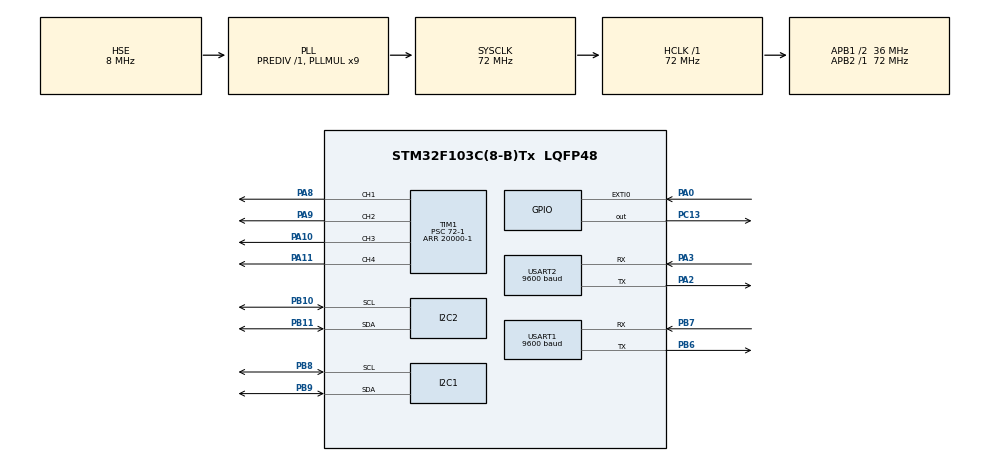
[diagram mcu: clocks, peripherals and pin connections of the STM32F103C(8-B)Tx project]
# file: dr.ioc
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Dma.Request0=USART1_RX
Dma.Request1=USART1_TX
Dma.Request2=USART2_RX
Dma.Request3=USART2_TX
Dma.USART1_RX.0.Direction=DMA_PERIPH_TO_MEMORY
Dma.USART1_RX.0.Instance=DMA1_Channel5
Dma.USART1_RX.0.MemDataAlignment=DMA_MDATAALIGN_BYTE
Dma.USART1_RX.0.MemInc=DMA_MINC_ENABLE
Dma.USART1_RX.0.Mode=DMA_NORMAL
Dma.USART1_RX.0.PeriphDataAlignment=DMA_PDATAALIGN_BYTE
Dma.USART1_RX.0.PeriphInc=DMA_PINC_DISABLE
Dma.USART1_RX.0.Priority=DMA_PRIORITY_LOW
Dma.USART1_TX.1.Direction=DMA_MEMORY_TO_PERIPH
Dma.USART1_TX.1.Instance=DMA1_Channel4
Dma.USART1_TX.1.MemDataAlignment=DMA_MDATAALIGN_BYTE
Dma.USART1_TX.1.MemInc=DMA_MINC_ENABLE
Dma.USART1_TX.1.Mode=DMA_NORMAL
Dma.USART1_TX.1.PeriphDataAlignment=DMA_PDATAALIGN_BYTE
Dma.USART1_TX.1.PeriphInc=DMA_PINC_DISABLE
Dma.USART1_TX.1.Priority=DMA_PRIORITY_LOW
Dma.USART2_RX.2.Direction=DMA_PERIPH_TO_MEMORY
Dma.USART2_RX.2.Instance=DMA1_Channel6
Dma.USART2_RX.2.MemDataAlignment=DMA_MDATAALIGN_BYTE
Dma.USART2_RX.2.MemInc=DMA_MINC_ENABLE
Dma.USART2_RX.2.Mode=DMA_NORMAL
Dma.USART2_RX.2.PeriphDataAlignment=DMA_PDATAALIGN_BYTE
Dma.USART2_RX.2.PeriphInc=DMA_PINC_DISABLE
Dma.USART2_RX.2.Priority=DMA_PRIORITY_LOW
Dma.USART2_TX.3.Direction=DMA_MEMORY_TO_PERIPH
Dma.USART2_TX.3.Instance=DMA1_Channel7
Dma.USART2_TX.3.MemDataAlignment=DMA_MDATAALIGN_BYTE
Dma.USART2_TX.3.MemInc=DMA_MINC_ENABLE
Dma.USART2_TX.3.Mode=DMA_NORMAL
Dma.USART2_TX.3.PeriphDataAlignment=DMA_PDATAALIGN_BYTE
Dma.USART2_TX.3.PeriphInc=DMA_PINC_DISABLE
Dma.USART2_TX.3.Priority=DMA_PRIORITY_LOW
I2C1.I2C_Mode=I2C_Standard
I2C2.I2C_Mode=I2C_Fast
Mcu.Family=STM32F1
Mcu.Name=STM32F103C(8-B)Tx
Mcu.Package=LQFP48
NVIC.DMA1_Channel4_IRQn=true\:0\:0\:false\:false\:true\:false\:true\:true
NVIC.DMA1_Channel5_IRQn=true\:0\:0\:false\:false\:true\:false\:true\:true
NVIC.DMA1_Channel6_IRQn=true\:0\:0\:false\:false\:true\:false\:true\:true
NVIC.DMA1_Channel7_IRQn=true\:0\:0\:false\:false\:true\:false\:true\:true
NVIC.EXTI0_IRQn=true\:0\:0\:true\:false\:true\:true\:true\:true
NVIC.PriorityGroup=NVIC_PRIORITYGROUP_4
NVIC.USART1_IRQn=true\:0\:0\:false\:false\:true\:true\:true\:true
NVIC.USART2_IRQn=true\:0\:0\:false\:false\:true\:true\:true\:true
PA0-WKUP.GPIO_ModeDefaultEXTI=GPIO_MODE_IT_FALLING
PA0-WKUP.GPIO_PuPd=GPIO_NOPULL
PA0-WKUP.Signal=GPXTI0
PA10.Signal=S_TIM1_CH3
PA11.Signal=S_TIM1_CH4
PA13.Mode=Serial_Wire
PA13.Signal=SYS_JTMS-SWDIO
PA14.Mode=Serial_Wire
PA14.Signal=SYS_JTCK-SWCLK
PA2.Mode=Asynchronous
PA2.Signal=USART2_TX
PA3.Mode=Asynchronous
PA3.Signal=USART2_RX
PA8.Signal=S_TIM1_CH1
PA9.Signal=S_TIM1_CH2
PB10.Mode=I2C
PB10.Signal=I2C2_SCL
PB11.Mode=I2C
PB11.Signal=I2C2_SDA
PB6.Mode=Asynchronous
PB6.Signal=USART1_TX
PB7.Mode=Asynchronous
PB7.Signal=USART1_RX
PB8.Mode=I2C
PB8.Signal=I2C1_SCL
PB9.Mode=I2C
PB9.Signal=I2C1_SDA
PC13-TAMPER-RTC.PinState=GPIO_PIN_RESET
PC13-TAMPER-RTC.Signal=GPIO_Output
PD0-OSC_IN.Mode=HSE-External-Oscillator
PD0-OSC_IN.Signal=RCC_OSC_IN
PD1-OSC_OUT.Mode=HSE-External-Oscillator
PD1-OSC_OUT.Signal=RCC_OSC_OUT
ProjectManager.HeapSize=0x200
ProjectManager.StackSize=0x400
ProjectManager.TargetToolchain=STM32CubeIDE
RCC.AHBFreq_Value=72000000
RCC.APB1CLKDivider=RCC_HCLK_DIV2
RCC.APB1Freq_Value=36000000
RCC.APB1TimFreq_Value=72000000
RCC.APB2Freq_Value=72000000
RCC.APB2TimFreq_Value=72000000
RCC.HCLKFreq_Value=72000000
RCC.PLLMUL=RCC_PLL_MUL9
RCC.PLLSourceVirtual=RCC_PLLSOURCE_HSE
RCC.SYSCLKFreq_VALUE=72000000
RCC.SYSCLKSource=RCC_SYSCLKSOURCE_PLLCLK
RCC.USBFreq_Value=72000000
SH.S_TIM1_CH1.0=TIM1_CH1,PWM Generation1 CH1
SH.S_TIM1_CH2.0=TIM1_CH2,PWM Generation2 CH2
SH.S_TIM1_CH3.0=TIM1_CH3,PWM Generation3 CH3
SH.S_TIM1_CH4.0=TIM1_CH4,PWM Generation4 CH4
TIM1.Channel-PWM\ Generation1\ CH1=TIM_CHANNEL_1
TIM1.Channel-PWM\ Generation2\ CH2=TIM_CHANNEL_2
TIM1.Channel-PWM\ Generation3\ CH3=TIM_CHANNEL_3
TIM1.Channel-PWM\ Generation4\ CH4=TIM_CHANNEL_4
TIM1.Period=20000-1
TIM1.Prescaler=72-1
TIM1.Pulse-PWM\ Generation1\ CH1=0
TIM1.Pulse-PWM\ Generation2\ CH2=0
TIM1.Pulse-PWM\ Generation3\ CH3=0
TIM1.Pulse-PWM\ Generation4\ CH4=0
TIM2.Prescaler=72-1
USART1.BaudRate=9600
USART1.VirtualMode=VM_ASYNC
USART2.BaudRate=9600
USART2.VirtualMode=VM_ASYNC
VP_TIM1_VS_ClockSourceINT.Mode=Internal
VP_TIM2_VS_ClockSourceINT.Mode=Internal
board=custom

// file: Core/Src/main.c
/* USER CODE BEGIN Header */
/**
  ******************************************************************************
  * @file           : main.c
  * @brief          : Main program body
  ******************************************************************************
  * @attention
  *
  * Copyright (c) 2025 STMicroelectronics.
  * All rights reserved.
  *
  * This software is licensed under terms that can be found in the LICENSE file
  * in the root directory of this software component.
  * If no LICENSE file comes with this software, it is provided AS-IS.
  *
  ******************************************************************************
  */
/* USER CODE END Header */
#include "main.h"
#include "dma.h"
#include "i2c.h"
#include "tim.h"
#include "usart.h"
#include "gpio.h"

/* USER CODE BEGIN Includes */
#include "ppm.h"
#include "oled.h"
#include "gy86.h"
#include "MS5611.h"
/* USER CODE END Includes */

/* USER CODE BEGIN PD */
#define PPM_Chn_Max 8                 // 假设8个PPM通道
#define BLUE_BUF_SIZE 64              // 蓝牙发送缓冲区大小
/* USER CODE END PD */

/* USER CODE BEGIN PV */
uint8_t blueData[50];
uint16_t PPM_Databuf[8] = {0};
char tx_buffer[BLUE_BUF_SIZE];
volatile uint8_t ppm_data_ready = 0;  // PPM数据就绪标志
volatile uint8_t uart_tx_busy = 0;    // UART发送忙标志
int16_t mag_x, mag_y, mag_z;
int16_t acc_x, acc_y, acc_z, gyro_x, gyro_y, gyro_z;
uint8_t letsgo = 1;
/* USER CODE END PV */

void SystemClock_Config(void);

/* USER CODE BEGIN 0 */
//void HAL_UARTEx_RxEventCallback(UART_HandleTypeDef *huart, uint16_t Size)
//{
//  if (huart->Instance == USART2)
//  {
//    // 使用DMA将接收到的数据发送回去
//    HAL_UART_Transmit_DMA(&huart2, (uint8_t*)tx_buffer, len);
//    // 重新启动接收，使用Ex函数，接收不定长数据
//    HAL_UARTEx_ReceiveToIdle_DMA(&huart2, blueData, sizeof(blueData));
//    // 关闭DMA传输过半中断（HAL库默认开启，但我们只需要接收完成中断）
//    __HAL_DMA_DISABLE_IT(huart2.hdmarx, DMA_IT_HT);
//  }
//}

//void HAL_UARTEx_RxEventCallback(UART_HandleTypeDef *huart, uint16_t Size) {
//  if (huart->Instance == USART2) {
//    // 处理接收到的数据（如blueData[0...Size-1]）
//    // 重新启动接收前关闭DMA中断
//    __HAL_DMA_DISABLE_IT(huart2.hdmarx, DMA_IT_HT | DMA_IT_TC);
//    HAL_UARTEx_ReceiveToIdle_DMA(&huart2, blueData, sizeof(blueData));
//  }
//}
//void HAL_UART_TxCpltCallback(UART_HandleTypeDef *huart) {
//    if (huart->Instance == USART2) {
//        uart_tx_busy = 0;  // 标记发送完成
//    }
//}

void startMotor_only4(){
	// An highlighted block
		HAL_TIM_PWM_Start(&htim1,TIM_CHANNEL_4);
	__HAL_TIM_SET_COMPARE(&htim1, TIM_CHANNEL_4,2000);//BB
		HAL_Delay(4000);
	__HAL_TIM_SET_COMPARE(&htim1, TIM_CHANNEL_4,1000);//BBB
		HAL_Delay(4000);

	__HAL_TIM_SET_COMPARE(&htim1, TIM_CHANNEL_4,1049);//起飞
		HAL_Delay(2000);

}
/* USER CODE END 0 */

int main(void)
{

  /* MCU Configuration--------------------------------------------------------*/

  /* Reset of all peripherals, Initializes the Flash interface and the Systick. */
  HAL_Init();

  /* Configure the system clock */
  SystemClock_Config();

  /* Initialize all configured peripherals */
  MX_GPIO_Init();
  MX_DMA_Init();
  MX_I2C1_Init();
  MX_I2C2_Init();
  MX_TIM1_Init();
  MX_TIM2_Init();
  MX_USART1_UART_Init();
  MX_USART2_UART_Init();
  /* USER CODE BEGIN 2 */
  HAL_TIM_Base_Start(&htim2);

  HAL_Delay(20);
//  // 使用Ex函数，接收不定长数据
//  HAL_UARTEx_ReceiveToIdle_DMA(&huart2, blueData, sizeof(blueData));
//  // 关闭DMA传输过半中断（HAL库默认开启，但我们只需要接收完成中断）
//  __HAL_DMA_DISABLE_IT(huart2.hdmarx, DMA_IT_HT);
//  // 现在等待数据接收完成，接收完成后会自动进入 回调函数...

  HAL_Delay(20);
  OLED_Init();                           //OLED初始
  OLED_Clear();                         //清屏
  OLED_DrawBMP(42,1, 85, 5,BMP1,0);//正相显示图片BMP1
  OLED_ShowString(14,6,"Summer Pocket",16, 0);

  HAL_Delay(20);
  HMC5883L_Init();
  MPU6050_Init();

  char defaultData[] = "Bluetooth";
  uint16_t len_default = sizeof(defaultData) - 1;  // 去掉末尾的\0
  /* USER CODE END 2 */

  /* Infinite loop */
  /* USER CODE BEGIN WHILE */
  while (1)
  {
	  if(!uart_tx_busy){
		  HMC5883L_ReadData(&mag_x, &mag_y, &mag_z);
		  MPU6050_GetData(&acc_x, &acc_y, &acc_z, &gyro_x, &gyro_y, &gyro_z);
		  uart_tx_busy = 1;
		    int len = snprintf(tx_buffer, sizeof(tx_buffer),
		        "%d,%d,%d,%d,%d,%d,%d,%d,%d\r\n",
		        mag_x, mag_y, mag_z,
		        acc_x, acc_y, acc_z,
		        gyro_x, gyro_y, gyro_z);
		  HAL_UART_Transmit(&huart2, (uint8_t*)tx_buffer, len, 500);
		  uart_tx_busy = 0;
		  HAL_Delay(200);
	  }
	  if(!uart_tx_busy){
	          HAL_UART_Transmit(&huart2, (uint8_t*)defaultData, len_default, 500);
	          HAL_Delay(500); // 保持适当间隔
	      }
	  if (ppm_data_ready && !uart_tx_busy && 0) {
	       __disable_irq();
	        uint16_t temp_buf[8];
	        memcpy(temp_buf, (uint16_t*)PPM_Databuf, sizeof(PPM_Databuf));
	        ppm_data_ready = 0;
	        __enable_irq();

	        uart_tx_busy = 1;
	        int len = snprintf(tx_buffer, sizeof(tx_buffer),
	            "%hu,%hu,%hu,%hu,%hu,%hu,%hu,%hu\r\n",
	            temp_buf[0], temp_buf[1],
	            temp_buf[2], temp_buf[3],
	            temp_buf[4], temp_buf[5],
	            temp_buf[6], temp_buf[7]);

	        HAL_UART_Transmit(&huart2, (uint8_t*)tx_buffer, len, 500);
	        uart_tx_busy = 0;
	        letsgo = (letsgo+1)%2;
	      }
    /* USER CODE END WHILE */

  }
}

void SystemClock_Config(void)
{
  RCC_OscInitTypeDef RCC_OscInitStruct = {0};
  RCC_ClkInitTypeDef RCC_ClkInitStruct = {0};

  /** Initializes the RCC Oscillators according to the specified parameters
  * in the RCC_OscInitTypeDef structure.
  */
  RCC_OscInitStruct.OscillatorType = RCC_OSCILLATORTYPE_HSE;
  RCC_OscInitStruct.HSEState = RCC_HSE_ON;
  RCC_OscInitStruct.HSEPredivValue = RCC_HSE_PREDIV_DIV1;
  RCC_OscInitStruct.HSIState = RCC_HSI_ON;
  RCC_OscInitStruct.PLL.PLLState = RCC_PLL_ON;
  RCC_OscInitStruct.PLL.PLLSource = RCC_PLLSOURCE_HSE;
  RCC_OscInitStruct.PLL.PLLMUL = RCC_PLL_MUL9;
  if (HAL_RCC_OscConfig(&RCC_OscInitStruct) != HAL_OK)
  {
    Error_Handler();
  }

  /** Initializes the CPU, AHB and APB buses clocks
  */
  RCC_ClkInitStruct.ClockType = RCC_CLOCKTYPE_HCLK|RCC_CLOCKTYPE_SYSCLK
                              |RCC_CLOCKTYPE_PCLK1|RCC_CLOCKTYPE_PCLK2;
  RCC_ClkInitStruct.SYSCLKSource = RCC_SYSCLKSOURCE_PLLCLK;
  RCC_ClkInitStruct.AHBCLKDivider = RCC_SYSCLK_DIV1;
  RCC_ClkInitStruct.APB1CLKDivider = RCC_HCLK_DIV2;
  RCC_ClkInitStruct.APB2CLKDivider = RCC_HCLK_DIV1;

  if (HAL_RCC_ClockConfig(&RCC_ClkInitStruct, FLASH_LATENCY_2) != HAL_OK)
  {
    Error_Handler();
  }
}

void Error_Handler(void)
{
  __disable_irq();
  while (1)
  {
  }
}
